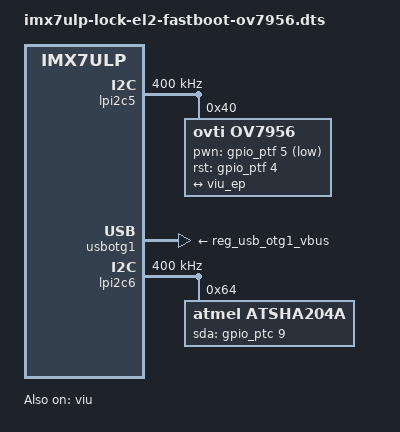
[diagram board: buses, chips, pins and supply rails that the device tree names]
/*
 * Copyright 2016 Freescale Semiconductor, Inc.
 * Copyright 2017 NXP.
 *
 * This program is free software; you can redistribute it and/or modify
 * it under the terms of the GNU General Public License version 2 as
 * published by the Free Software Foundation.
 */


#include "imx7ulp-lock-el2.dts"

&lpi2c5 {
	#address-cells = <1>;
	#size-cells = <0>;
	pinctrl-names = "default", "sleep";
	pinctrl-0 = <&pinctrl_lpi2c5>;
	pinctrl-1 = <&pinctrl_lpi2c5>;
	clock-frequency = <400000>;
	status = "okay";

	ov7956: ov7956@40 {
		compatible = "ovti,ov7956";
		reg = <0x40>;
		pinctrl-names = "default";
		pinctrl-0 = <&pinctrl_camera_ov7956>;
		clocks = <&clks IMX7ULP_CLK_DUMMY>;
		clock-names = "csi_mclk";
		pwn-gpios = <&gpio_ptf 5 GPIO_ACTIVE_LOW>;  /* merge patch for x7 190709: change to reset-gpio*/
		rst-gpios = <&gpio_ptf 4 GPIO_ACTIVE_HIGH>;  /* merge patch for x7 190709 */
		csi_id = <0>;
		mclk = <24000000>;
		mclk_source = <0>;
		status = "okay";

		port {
			ov7956_ep: endpoint {
				remote-endpoint = <&viu_ep>;
			};
		};
	};
};

&viu {
	status = "okay";

	port {
		viu_ep: endpoint {
			remote-endpoint = <&ov7956_ep>;
		};
	};
};

&usbotg1 {
	vbus-supply = <&reg_usb_otg1_vbus>;
	extcon = <0>, <&extcon_usb1>;
	srp-disable;
	hnp-disable;
	adp-disable;
	status = "okay";
};

&usbphy1 {
	tx-d-cal = <0xc>;
};
&lpi2c6 {
	#address-cells = <1>;
	#size-cells = <0>;
	pinctrl-names = "default", "sleep";
	pinctrl-0 = <&pinctrl_lpi2c6>;
	pinctrl-1 = <&pinctrl_lpi2c6_sleep>;
	clock-frequency = <400000>;
	status = "okay";

	atsha204a: atsha204a@64 {
		compatible = "atmel,atsha204a";
		reg = <0x64>;
		sda-gpios = <&gpio_ptc 9 GPIO_ACTIVE_HIGH>;
		status = "okay";
	};
};


